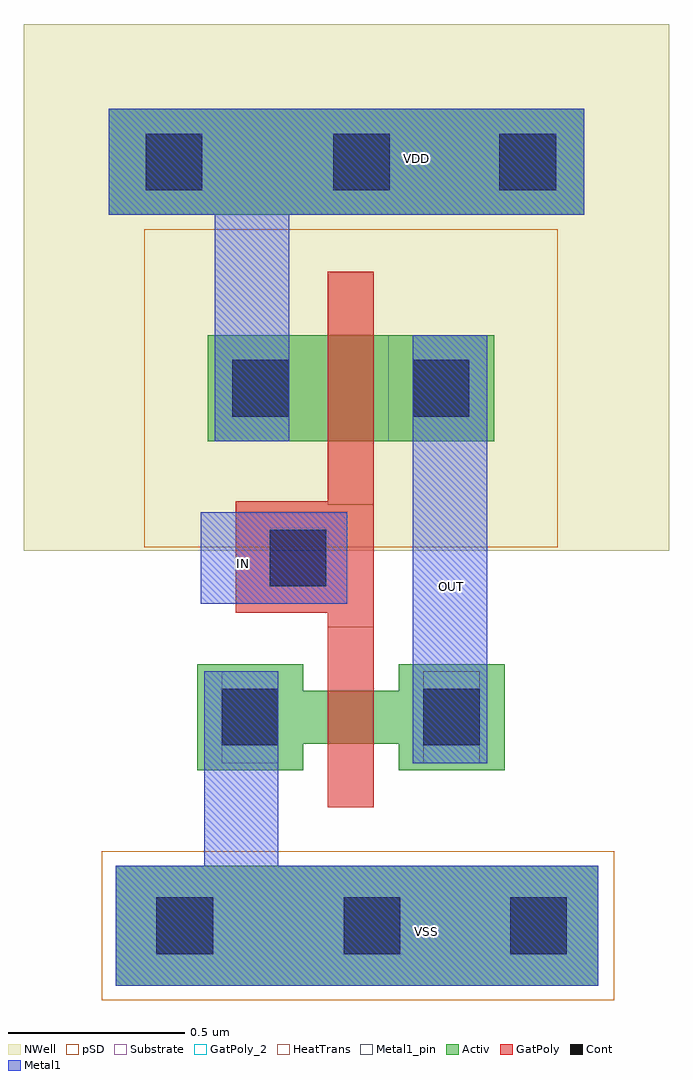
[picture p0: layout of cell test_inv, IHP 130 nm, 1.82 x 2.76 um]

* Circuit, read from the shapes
.subckt test_inv IN OUT VDD VSS
XM1 OUT IN VSS VSS sg13_lv_nmos w=0.15u l=0.13u
XM2 OUT IN VDD VDD sg13_lv_pmos w=0.3u l=0.13u
.ends

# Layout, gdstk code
import gdstk
lib = gdstk.Library(unit=1e-6, precision=1e-09)
def R(c, l, rs):  # rectangles x0, y0, x1, y1
    for r in rs: c.add(gdstk.rectangle(r[:2], r[2:], *l))
Activ = (1, 0)
GatPoly = (5, 0)
GatPoly_2 = (5, 2)
Cont = (6, 0)
Metal1 = (8, 0)
Metal1_pin = (8, 2)
pSD = (14, 0)
NWell = (31, 0)
Substrate = (40, 0)
HeatTrans = (51, 0)

nmos = lib.new_cell('nmos')
R(nmos, Activ, [(0,0,0.3,0.3), (0.57,0,0.87,0.3), (0,0.075,0.87,0.225)])
R(nmos, GatPoly, [(0.37,-0.105,0.5,0.405)])
R(nmos, GatPoly_2, [(0.37,-0.105,0.5,0.405)])
R(nmos, Cont, [(0.07,0.07,0.23,0.23), (0.64,0.07,0.8,0.23)])
R(nmos, Metal1, [(0.07,0.02,0.23,0.28), (0.64,0.02,0.8,0.28)])
R(nmos, Metal1_pin, [(0.07,0.02,0.23,0.28), (0.64,0.02,0.8,0.28)])
R(nmos, HeatTrans, [(0.37,-0.105,0.5,0.405)])
nmos.add(gdstk.Label('nmos', (0.435,0.15), layer=63, texttype=0))
nmos.add(gdstk.Label('nmos', (0.435,0.15), layer=51, texttype=0))

pmos_1 = lib.new_cell('pmos$1')
R(pmos_1, Activ, [(0,0,0.3,0.3), (0,0,0.81,0.3), (0.51,0,0.81,0.3)])
R(pmos_1, GatPoly, [(0.34,-0.18,0.47,0.48), (0.34,-0.18,0.47,0.48)])
R(pmos_1, Cont, [(0.07,0.07,0.23,0.23), (0.58,0.07,0.74,0.23)])
R(pmos_1, Metal1, [(0.07,0,0.23,0.3), (0.07,0,0.23,0.3), (0.58,0,0.74,0.3), (0.58,0,0.74,0.3)])
R(pmos_1, pSD, [(-0.18,-0.3,0.99,0.6)])
R(pmos_1, NWell, [(-0.31,-0.31,1.12,0.61)])
R(pmos_1, Substrate, [(0.51,0,0.81,0.3)])
R(pmos_1, HeatTrans, [(0.34,-0.18,0.47,0.48)])
pmos_1.add(gdstk.Label('pmos', (0.405,0.15), layer=63, texttype=0))
pmos_1.add(gdstk.Label('pmos', (0.405,0.15), layer=51, texttype=0))

test_inv = lib.new_cell('test_inv')
R(test_inv, Activ, [(-0.5,0.21,0.865,0.55), (-0.52,2.39,0.825,2.69)])
R(test_inv, GatPoly, [(0.1,1.18,0.23,1.73), (-0.16,1.265,0.225,1.58)])
R(test_inv, Cont, [(-0.385,0.3,-0.225,0.46), (0.145,0.3,0.305,0.46), (0.615,0.3,0.775,0.46), (-0.065,1.34,0.095,1.5), (-0.415,2.46,-0.255,2.62), (0.115,2.46,0.275,2.62), (0.585,2.46,0.745,2.62)])
R(test_inv, Metal1, [(-0.5,0.21,0.865,0.55), (-0.25,0.25,-0.04,1.1), (0.34,0.84,0.55,2.05), (-0.26,1.29,0.155,1.55), (-0.22,1.75,-0.01,2.6), (-0.52,2.39,0.825,2.69)])
R(test_inv, pSD, [(-0.54,0.17,0.91,0.59)])
R(test_inv, NWell, [(-0.76,1.44,1.065,2.93)])
test_inv.add(gdstk.Reference(nmos, (-0.27,0.82)))
test_inv.add(gdstk.Reference(pmos_1, (-0.24,1.75)))
test_inv.add(gdstk.Label('VDD', (0.35,2.55), layer=8, texttype=2))
test_inv.add(gdstk.Label('IN', (-0.14,1.405), layer=8, texttype=2))
test_inv.add(gdstk.Label('OUT', (0.45,1.34), layer=8, texttype=2))
test_inv.add(gdstk.Label('VSS', (0.38,0.365), layer=8, texttype=2))

lib.write_gds('test_inv.gds')
